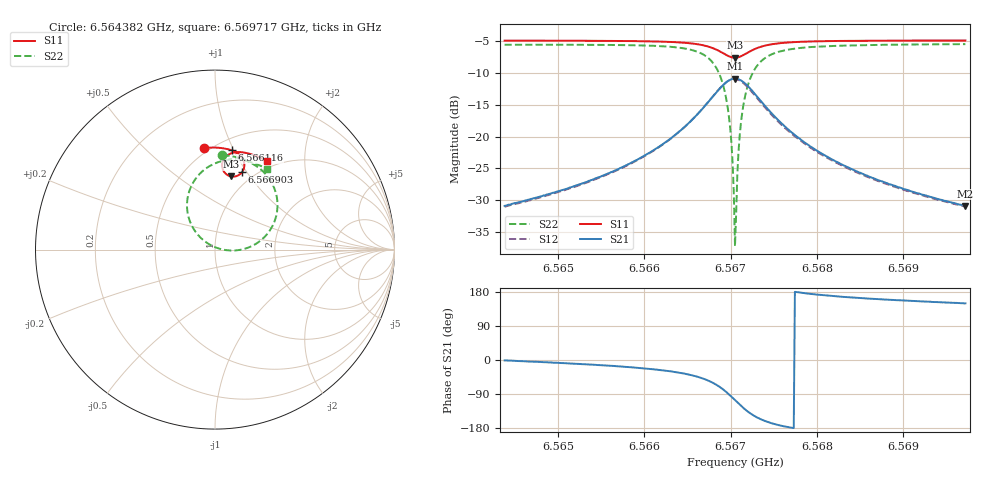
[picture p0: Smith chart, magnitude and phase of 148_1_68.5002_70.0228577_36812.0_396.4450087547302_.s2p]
#  HZ  S  RI  R  50.00
! Rohde & Schwarz Vector Network Analyzer
! Rohde-Schwarz,ZNB20-2Port,1311601062101988,3.16
! Created: UTC 3/20/2024, 4:55:09 PM
! freq[Hz]  re:S11  im:S11  re:S21  im:S21  re:S12  im:S12  re:S22  im:S22
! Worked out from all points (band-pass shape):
!   401 points, 6.564382 GHz to 6.569717 GHz, reference 50 ohm
!   highest |S21| = -10.88 dB at 6.56705 GHz (marker M1); lowest = -30.9 dB at 6.569717 GHz (marker M2)
!   |S21| within 3 dB of the highest: 6.566782 GHz to 6.567316 GHz (534.1 kHz wide, 0.00813 % of centre)
!   lowest |S11| = -7.6 dB at 6.56705 GHz (marker M3), VSWR 2.43, Z = 41.3 + j40.9 ohm
!   |S11| at or under -10 dB: nowhere
!   |S22| runs from -37.2 to -5.4 dB; largest |S21 - S12| = 0.014
!   S11 on the Smith chart (normalised r, x): 6.564382 GHz: 0.47, +0.78; 6.566116 GHz: 0.61, +0.98; 6.566903 GHz: 0.87, +0.95; 6.569717 GHz: 0.90, +1.32
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6.564382e9  -0.0605 0.566  0.0285 -0.000565  0.028 -0.000969  0.041 0.5266
6.5652757e9  0.0131 0.568  0.0419 -0.00809  0.0413 -0.00862  0.1266 0.5125
6.566116e9  0.0922 0.5535  0.0715 -0.033  0.0705 -0.0337  0.2385 0.4599
6.5661693e9  0.098 0.5514  0.0747 -0.0365  0.0736 -0.0374  0.2479 0.4526
6.5666762e9  0.1573 0.5  0.1101 -0.125  0.1076 -0.1276  0.3461 0.2799
6.5668096e9  0.1633 0.4638  0.0994 -0.1883  0.0945 -0.1918  0.3322 0.1591
6.566903e9  0.151 0.4317  0.0604 -0.2436  0.0519 -0.2464  0.261 0.0563
6.566943e9  0.1385 0.4191  0.0308 -0.2639  0.0203 -0.2655  0.206 0.02
6.566983e9  0.1216 0.41  -0.0069 -0.2775  -0.0188 -0.2766  0.137 -0.00197
6.5670097e9  0.1084 0.407  -0.0351 -0.2807  -0.0476 -0.2777  0.0862 -0.00522
6.5670363e9  0.0947 0.4069  -0.064 -0.2783  -0.0765 -0.2733  0.0346 0.00216
6.5670497e9  0.0878 0.408  -0.0785 -0.2749  -0.0905 -0.2688  0.00957 0.00984
6.567063e9  0.081 0.4099  -0.0924 -0.2701  -0.104 -0.263  -0.0145 0.02
6.5670764e9  0.0747 0.4125  -0.1058 -0.2641  -0.1168 -0.2559  -0.0372 0.0327
6.567103e9  0.0631 0.4198  -0.13 -0.2484  -0.1395 -0.2386  -0.0772 0.0633
6.567143e9  0.0498 0.4342  -0.1582 -0.2187  -0.1649 -0.2073  -0.1218 0.1196
6.5671964e9  0.0407 0.4563  -0.1797 -0.1747  -0.1826 -0.1632  -0.1517 0.1993
6.5672631e9  0.0407 0.4821  -0.1855 -0.1246  -0.1851 -0.1144  -0.1528 0.2876
6.5675032e9  0.078 0.5308  -0.1424 -0.0282  -0.1393 -0.0239  -0.0544 0.4492
6.5679434e9  0.141 0.5431  -0.0816 0.0086  -0.0795 0.00997  0.0833 0.5008
6.568837e9  0.2249 0.5231  -0.0394 0.015  -0.0385 0.0155  0.214 0.4832
6.5697174e9  0.2902 0.4917  -0.0245 0.0144  -0.024 0.0146  0.2921 0.4474
